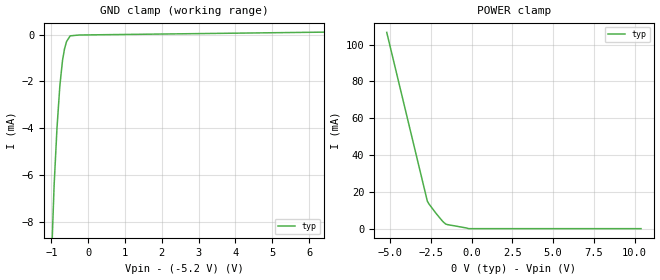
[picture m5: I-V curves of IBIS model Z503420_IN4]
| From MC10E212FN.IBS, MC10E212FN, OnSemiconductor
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| (C) COPYRIGHT 1993-2000
| MENTOR GRAPHICS CORPORATION
| ICX STANDARD LIBRARY, ICX PROJECT MODELING,
| ICX CUSTOM MODELING, ICX VENDOR MODEL
| ALL RIGHTS RESERVED.
| THE FOLLOWING ARE TRADEMARKS OR SERVICE MARKS OF
| MENTOR GRAPHICS CORPORATION:ICX (R), ICX STANDARD
| LIBRARY(R), ICX PROJECT MODELING(R), ICX CUSTOM
| MODELING(R), qualityIBIS(TM), MODELVIEWER(TM),
| AND MODELEDITOR(TM)
| ALL COPIES OF SOFTWARE, INCLUDING BUT NOT LIMITED TO
| ANY MODIFICATIONS, ENHANCEMENTS OR DERIVATIVE WORKS,
| MUST CONTAIN ALL MENTOR GRAPHICS CORPORATION'S
| NOTICES AND LEGENDS, INCLUDING THOSE EMBEDDED IN
| SOFTWARE AND THOSE AFFIXED TO SOFTWARE MEDIUM
| AND CONTAINER, AS RECEIVED FROM MENTOR GRAPHICS
| CORPORATION.
| Model Application Version 1.89 2/18/99.
[Model] Z503420_IN4
Model_type Input_ECL
Vinl = -1.480V
Vinh = -1.130V
C_comp 4.000pF NA NA
| variable typ   min   max
[Voltage Range] -5.200V NA NA
[GND Clamp Reference] -5.200V NA NA
[POWER Clamp Reference] 0.000V NA NA
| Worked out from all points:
|   GND clamp passes 1 mA (typ) near -0.69 V on its own axis
[GND Clamp]
-5.2V     -279.5mA   NA         NA
-1.077V   -13.19mA   NA         NA
-926mV    -6.454mA   NA         NA
-849mV    -4.03mA    NA         NA
-770mV    -2.187mA   NA         NA
-698mV    -1.109mA   NA         NA
-644mV    -612.5uA   NA         NA
-589mV    -298.1uA   NA         NA
-489mV    -50.67uA   NA         NA
-244.5mV  -14.84uA   NA         NA
10.4V     181.1uA    NA         NA
[POWER Clamp]
-5.2V     106.6mA    NA         NA
-2.711V   14.96mA    NA         NA
-2.607V   13.36mA    NA         NA
-2.144V   7.949mA    NA         NA
-1.767V   3.945mA    NA         NA
-1.601V   2.62mA     NA         NA
-1.563V   2.441mA    NA         NA
-1.483V   2.219mA    NA         NA
-327.1mV  390.8uA    NA         NA
-163.6mV  0A         NA         NA
10.4V     0A         NA         NA
